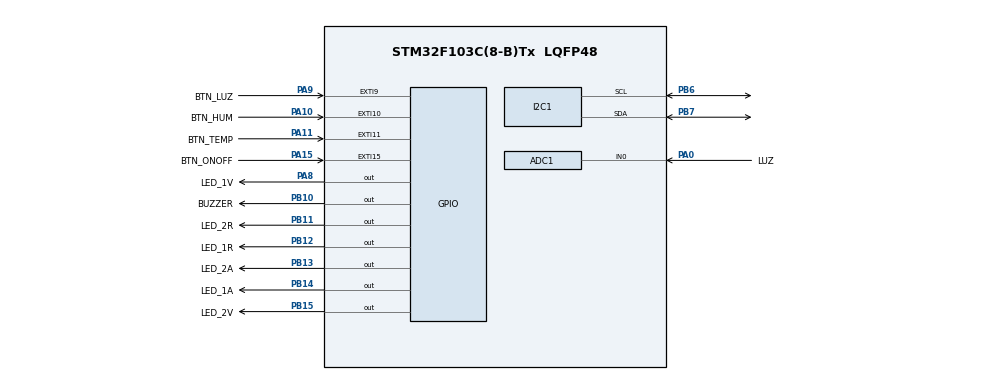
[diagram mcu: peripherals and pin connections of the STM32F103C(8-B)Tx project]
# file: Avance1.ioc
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ADC1.Channel-0\#ChannelRegularConversion=ADC_CHANNEL_0
ADC1.ContinuousConvMode=ENABLE
ADC1.NbrOfConversionFlag=1
ADC1.Rank-0\#ChannelRegularConversion=1
ADC1.SamplingTime-0\#ChannelRegularConversion=ADC_SAMPLETIME_1CYCLE_5
ADC1.master=1
Mcu.Family=STM32F1
Mcu.Name=STM32F103C(8-B)Tx
Mcu.Package=LQFP48
NVIC.ADC1_2_IRQn=true\:0\:0\:false\:false\:true\:true\:true\:true
NVIC.EXTI15_10_IRQn=true\:0\:0\:false\:false\:true\:true\:true\:true
NVIC.EXTI9_5_IRQn=true\:0\:0\:false\:false\:true\:true\:true\:true
NVIC.I2C1_ER_IRQn=true\:0\:0\:false\:false\:true\:true\:true\:true
NVIC.I2C1_EV_IRQn=true\:0\:0\:false\:false\:true\:true\:true\:true
NVIC.PriorityGroup=NVIC_PRIORITYGROUP_4
PA0-WKUP.GPIO_Label=LUZ
PA0-WKUP.Signal=ADCx_IN0
PA10.GPIO_Label=BTN_HUM
PA10.GPIO_PuPd=GPIO_PULLDOWN
PA10.Signal=GPXTI10
PA11.GPIO_Label=BTN_TEMP
PA11.GPIO_PuPd=GPIO_PULLDOWN
PA11.Signal=GPXTI11
PA13.Mode=Serial_Wire
PA13.Signal=SYS_JTMS-SWDIO
PA14.Mode=Serial_Wire
PA14.Signal=SYS_JTCK-SWCLK
PA15.GPIO_Label=BTN_ONOFF
PA15.GPIO_PuPd=GPIO_PULLDOWN
PA15.Signal=GPXTI15
PA8.GPIO_Label=LED_1V
PA8.Signal=GPIO_Output
PA9.GPIO_Label=BTN_LUZ
PA9.GPIO_PuPd=GPIO_PULLDOWN
PA9.Signal=GPXTI9
PB10.GPIO_Label=BUZZER
PB10.Signal=GPIO_Output
PB11.GPIO_Label=LED_2R
PB11.Signal=GPIO_Output
PB12.GPIO_Label=LED_1R
PB12.Signal=GPIO_Output
PB13.GPIO_Label=LED_2A
PB13.Signal=GPIO_Output
PB14.GPIO_Label=LED_1A
PB14.Signal=GPIO_Output
PB15.GPIO_Label=LED_2V
PB15.Signal=GPIO_Output
PB6.Mode=I2C
PB6.Signal=I2C1_SCL
PB7.Mode=I2C
PB7.Signal=I2C1_SDA
PC14-OSC32_IN.Mode=LSE-External-Oscillator
PC14-OSC32_IN.Signal=RCC_OSC32_IN
PC15-OSC32_OUT.Mode=LSE-External-Oscillator
PC15-OSC32_OUT.Signal=RCC_OSC32_OUT
PD0-OSC_IN.Mode=HSE-External-Oscillator
PD0-OSC_IN.Signal=RCC_OSC_IN
PD1-OSC_OUT.Mode=HSE-External-Oscillator
PD1-OSC_OUT.Signal=RCC_OSC_OUT
ProjectManager.HeapSize=0x200
ProjectManager.StackSize=0x400
ProjectManager.TargetToolchain=STM32CubeIDE
RCC.APB1Freq_Value=8000000
RCC.APB2Freq_Value=8000000
SH.ADCx_IN0.0=ADC1_IN0,IN0
board=custom

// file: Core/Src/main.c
/* USER CODE BEGIN Header */
/**
  ******************************************************************************
  * @file           : main.c
  * @brief          : Main program body
  ******************************************************************************
  * @attention
  *
  * Copyright (c) 2023 STMicroelectronics.
  * All rights reserved.
  *
  * This software is licensed under terms that can be found in the LICENSE file
  * in the root directory of this software component.
  * If no LICENSE file comes with this software, it is provided AS-IS.
  *
  ******************************************************************************
  */
/* USER CODE END Header */
#include "main.h"

/* USER CODE BEGIN Includes */
#include "bmp280.h"

#define IDLE 0
#define MT 1 //Medir temperatura
#define MH 2 //Medir humedad
#define MP 3 //Medir presión
#define ML 4 //Medir luz

/* USER CODE END Includes */

ADC_HandleTypeDef hadc1;

I2C_HandleTypeDef hi2c1;

/* USER CODE BEGIN PV */
BMP280_HandleTypedef bmp280; //handler for sensor
int STATE = IDLE;
uint8_t previousState = 0;
float temperature = 0;
float humidity = 0;
float pressure = 0;
float light = 0;
/* USER CODE END PV */

void SystemClock_Config(void);
static void MX_GPIO_Init(void);
static void MX_ADC1_Init(void);
static void MX_I2C1_Init(void);

int main(void)
{

  /* MCU Configuration--------------------------------------------------------*/

  /* Reset of all peripherals, Initializes the Flash interface and the Systick. */
  HAL_Init();

  /* Configure the system clock */
  SystemClock_Config();

  /* Initialize all configured peripherals */
  MX_GPIO_Init();
  MX_ADC1_Init();
  MX_I2C1_Init();
  /* USER CODE BEGIN 2 */
  HAL_I2C_Init(&hi2c1);
  HAL_ADC_Start(&hadc1);

  bmp280_init_default_params(&bmp280.params);
  bmp280.addr = BMP280_I2C_ADDRESS_0;
  bmp280.i2c= &hi2c1;
  bmp280.id == BME280_CHIP_ID;
  if (bmp280_init(&bmp280, &bmp280.params)) {
  	bool bme280p = bmp280.id == BME280_CHIP_ID;
  }
  /* USER CODE END 2 */

  /* Infinite loop */
  while (1)
  {

    /* USER CODE BEGIN 3 */
	switch (STATE) {
		case IDLE: //No hace nada
			HAL_GPIO_WritePin(LED_1V_GPIO_Port, LED_1V_Pin, 0);
			HAL_GPIO_WritePin(LED_2V_GPIO_Port, LED_2V_Pin, 0);
			HAL_GPIO_WritePin(LED_1A_GPIO_Port, LED_1A_Pin, 0);
			HAL_GPIO_WritePin(LED_2A_GPIO_Port, LED_2A_Pin, 0);
			HAL_GPIO_WritePin(LED_1R_GPIO_Port, LED_1R_Pin, 0);
			HAL_GPIO_WritePin(LED_2R_GPIO_Port, LED_2R_Pin, 0);
			HAL_GPIO_WritePin(BUZZER_GPIO_Port, BUZZER_Pin, 0);

			break;

		case MT: //Va a medir temperatura.
			//Empezar nuestro código para el caso medir temp.
			//Pedir el valor al sensor

			bmp280_read_float(&bmp280,&temperature,&pressure,&humidity);

			if(temperature < 0){
				//no enciende ningún LED
			} else if (temperature > 0 && temperature <= 10){
				//enciendo el primer LED verde
				HAL_GPIO_WritePin(LED_1V_GPIO_Port, LED_1V_Pin, 1);
				HAL_GPIO_WritePin(LED_2V_GPIO_Port, LED_2V_Pin, 0);
				HAL_GPIO_WritePin(LED_1A_GPIO_Port, LED_1A_Pin, 0);
				HAL_GPIO_WritePin(LED_2A_GPIO_Port, LED_2A_Pin, 0);
				HAL_GPIO_WritePin(LED_1R_GPIO_Port, LED_1R_Pin, 0);
				HAL_GPIO_WritePin(LED_2R_GPIO_Port, LED_2R_Pin, 0);

				HAL_GPIO_WritePin(BUZZER_GPIO_Port, BUZZER_Pin, 0);

			} else if (temperature > 10 && temperature <=22){
				// enciendo 1V y 2V
				HAL_GPIO_WritePin(LED_1V_GPIO_Port, LED_1V_Pin, 1);
				HAL_GPIO_WritePin(LED_2V_GPIO_Port, LED_2V_Pin, 1);
				HAL_GPIO_WritePin(LED_1A_GPIO_Port, LED_1A_Pin, 0);
				HAL_GPIO_WritePin(LED_2A_GPIO_Port, LED_2A_Pin, 0);
				HAL_GPIO_WritePin(LED_1R_GPIO_Port, LED_1R_Pin, 0);
				HAL_GPIO_WritePin(LED_2R_GPIO_Port, LED_2R_Pin, 0);

				HAL_GPIO_WritePin(BUZZER_GPIO_Port, BUZZER_Pin, 0);

			} else if (temperature > 22 && temperature <=25){
				// enciendo 1v, 2V y 1A
				HAL_GPIO_WritePin(LED_1V_GPIO_Port, LED_1V_Pin, 1);
				HAL_GPIO_WritePin(LED_2V_GPIO_Port, LED_2V_Pin, 1);
				HAL_GPIO_WritePin(LED_1A_GPIO_Port, LED_1A_Pin, 1);
				HAL_GPIO_WritePin(LED_2A_GPIO_Port, LED_2A_Pin, 0);
				HAL_GPIO_WritePin(LED_1R_GPIO_Port, LED_1R_Pin, 0);
				HAL_GPIO_WritePin(LED_2R_GPIO_Port, LED_2R_Pin, 0);

				HAL_GPIO_WritePin(BUZZER_GPIO_Port, BUZZER_Pin, 0);

			} else if (temperature > 25 && temperature <=27){
				// 1V 2V 1A 2A
				HAL_GPIO_WritePin(LED_1V_GPIO_Port, LED_1V_Pin, 1);
				HAL_GPIO_WritePin(LED_2V_GPIO_Port, LED_2V_Pin, 1);
				HAL_GPIO_WritePin(LED_1A_GPIO_Port, LED_1A_Pin, 1);
				HAL_GPIO_WritePin(LED_2A_GPIO_Port, LED_2A_Pin, 1);
				HAL_GPIO_WritePin(LED_1R_GPIO_Port, LED_1R_Pin, 0);
				HAL_GPIO_WritePin(LED_2R_GPIO_Port, LED_2R_Pin, 0);

				HAL_GPIO_WritePin(BUZZER_GPIO_Port, BUZZER_Pin, 0);

			} else if (temperature > 27 && temperature <=29){
				HAL_GPIO_WritePin(LED_1V_GPIO_Port, LED_1V_Pin, 1);
				HAL_GPIO_WritePin(LED_2V_GPIO_Port, LED_2V_Pin, 1);
				HAL_GPIO_WritePin(LED_1A_GPIO_Port, LED_1A_Pin, 1);
				HAL_GPIO_WritePin(LED_2A_GPIO_Port, LED_2A_Pin, 1);
				HAL_GPIO_WritePin(LED_1R_GPIO_Port, LED_1R_Pin, 1);
				HAL_GPIO_WritePin(LED_2R_GPIO_Port, LED_2R_Pin, 0);

				HAL_GPIO_WritePin(BUZZER_GPIO_Port, BUZZER_Pin, 1);

				// 1V 2V 1A 2A 1R
			} else if (temperature > 30){
				// 1V 2V 1A 2A 1R 2R
				HAL_GPIO_WritePin(LED_1V_GPIO_Port, LED_1V_Pin, 1);
				HAL_GPIO_WritePin(LED_2V_GPIO_Port, LED_2V_Pin, 1);
				HAL_GPIO_WritePin(LED_1A_GPIO_Port, LED_1A_Pin, 1);
				HAL_GPIO_WritePin(LED_2A_GPIO_Port, LED_2A_Pin, 1);
				HAL_GPIO_WritePin(LED_1R_GPIO_Port, LED_1R_Pin, 1);
				HAL_GPIO_WritePin(LED_2R_GPIO_Port, LED_2R_Pin, 1);

				HAL_GPIO_WritePin(BUZZER_GPIO_Port, BUZZER_Pin, 1);

			} else {
				//NO PRENDER NINGUNO
			}

			break;

		case MH: //Va a medir humedad.

			bmp280_read_float(&bmp280,&temperature,&pressure,&humidity);

			if(humidity < 0){
							//no enciende ningún LED
						} else if (humidity > 0 && humidity <= 20){
							//enciendo el primer LED verde
							HAL_GPIO_WritePin(LED_1V_GPIO_Port, LED_1V_Pin, 1);
							HAL_GPIO_WritePin(LED_2V_GPIO_Port, LED_2V_Pin, 0);
							HAL_GPIO_WritePin(LED_1A_GPIO_Port, LED_1A_Pin, 0);
							HAL_GPIO_WritePin(LED_2A_GPIO_Port, LED_2A_Pin, 0);
							HAL_GPIO_WritePin(LED_1R_GPIO_Port, LED_1R_Pin, 0);
							HAL_GPIO_WritePin(LED_2R_GPIO_Port, LED_2R_Pin, 0);

							HAL_GPIO_WritePin(BUZZER_GPIO_Port, BUZZER_Pin, 0);

						} else if (humidity > 20 && humidity <=40){
							// enciendo 1V y 2V
							HAL_GPIO_WritePin(LED_1V_GPIO_Port, LED_1V_Pin, 1);
							HAL_GPIO_WritePin(LED_2V_GPIO_Port, LED_2V_Pin, 1);
							HAL_GPIO_WritePin(LED_1A_GPIO_Port, LED_1A_Pin, 0);
							HAL_GPIO_WritePin(LED_2A_GPIO_Port, LED_2A_Pin, 0);
							HAL_GPIO_WritePin(LED_1R_GPIO_Port, LED_1R_Pin, 0);
							HAL_GPIO_WritePin(LED_2R_GPIO_Port, LED_2R_Pin, 0);

							HAL_GPIO_WritePin(BUZZER_GPIO_Port, BUZZER_Pin, 0);

						} else if (humidity > 40 && humidity <=60){
							// enciendo 1v, 2V y 1A
							HAL_GPIO_WritePin(LED_1V_GPIO_Port, LED_1V_Pin, 1);
							HAL_GPIO_WritePin(LED_2V_GPIO_Port, LED_2V_Pin, 1);
							HAL_GPIO_WritePin(LED_1A_GPIO_Port, LED_1A_Pin, 1);
							HAL_GPIO_WritePin(LED_2A_GPIO_Port, LED_2A_Pin, 0);
							HAL_GPIO_WritePin(LED_1R_GPIO_Port, LED_1R_Pin, 0);
							HAL_GPIO_WritePin(LED_2R_GPIO_Port, LED_2R_Pin, 0);

							HAL_GPIO_WritePin(BUZZER_GPIO_Port, BUZZER_Pin, 0);

						} else if (humidity > 60 && humidity <=80){
							// 1V 2V 1A 2A
							HAL_GPIO_WritePin(LED_1V_GPIO_Port, LED_1V_Pin, 1);
							HAL_GPIO_WritePin(LED_2V_GPIO_Port, LED_2V_Pin, 1);
							HAL_GPIO_WritePin(LED_1A_GPIO_Port, LED_1A_Pin, 1);
							HAL_GPIO_WritePin(LED_2A_GPIO_Port, LED_2A_Pin, 1);
							HAL_GPIO_WritePin(LED_1R_GPIO_Port, LED_1R_Pin, 0);
							HAL_GPIO_WritePin(LED_2R_GPIO_Port, LED_2R_Pin, 0);

							HAL_GPIO_WritePin(BUZZER_GPIO_Port, BUZZER_Pin, 0);

						} else if (humidity > 80 && humidity <100){
							HAL_GPIO_WritePin(LED_1V_GPIO_Port, LED_1V_Pin, 1);
							HAL_GPIO_WritePin(LED_2V_GPIO_Port, LED_2V_Pin, 1);
							HAL_GPIO_WritePin(LED_1A_GPIO_Port, LED_1A_Pin, 1);
							HAL_GPIO_WritePin(LED_2A_GPIO_Port, LED_2A_Pin, 1);
							HAL_GPIO_WritePin(LED_1R_GPIO_Port, LED_1R_Pin, 1);
							HAL_GPIO_WritePin(LED_2R_GPIO_Port, LED_2R_Pin, 0);

							HAL_GPIO_WritePin(BUZZER_GPIO_Port, BUZZER_Pin, 1);
							// 1V 2V 1A 2A 1R
						} else if (humidity > 100){
							// 1V 2V 1A 2A 1R 2R
							HAL_GPIO_WritePin(LED_1V_GPIO_Port, LED_1V_Pin, 1);
							HAL_GPIO_WritePin(LED_2V_GPIO_Port, LED_2V_Pin, 1);
							HAL_GPIO_WritePin(LED_1A_GPIO_Port, LED_1A_Pin, 1);
							HAL_GPIO_WritePin(LED_2A_GPIO_Port, LED_2A_Pin, 1);
							HAL_GPIO_WritePin(LED_1R_GPIO_Port, LED_1R_Pin, 1);
							HAL_GPIO_WritePin(LED_2R_GPIO_Port, LED_2R_Pin, 1);
							HAL_GPIO_WritePin(BUZZER_GPIO_Port, BUZZER_Pin, 1);

						} else {
							//NO PRENDER NINGUNO
						}
					break;

		case MP: //Va a medir presión.

			bmp280_read_float(&bmp280,&temperature,&pressure,&humidity);

			if(pressure < 300){
										//no enciende ningún LED
									} else if (pressure >= 300 && pressure <= 500){
										//enciendo el primer LED verde
										HAL_GPIO_WritePin(LED_1V_GPIO_Port, LED_1V_Pin, 1);
										HAL_GPIO_WritePin(LED_2V_GPIO_Port, LED_2V_Pin, 0);
										HAL_GPIO_WritePin(LED_1A_GPIO_Port, LED_1A_Pin, 0);
										HAL_GPIO_WritePin(LED_2A_GPIO_Port, LED_2A_Pin, 0);
										HAL_GPIO_WritePin(LED_1R_GPIO_Port, LED_1R_Pin, 0);
										HAL_GPIO_WritePin(LED_2R_GPIO_Port, LED_2R_Pin, 0);

										HAL_GPIO_WritePin(BUZZER_GPIO_Port, BUZZER_Pin, 0);

									} else if (pressure > 500 && pressure <=700){
										// enciendo 1V y 2V
										HAL_GPIO_WritePin(LED_1V_GPIO_Port, LED_1V_Pin, 1);
										HAL_GPIO_WritePin(LED_2V_GPIO_Port, LED_2V_Pin, 1);
										HAL_GPIO_WritePin(LED_1A_GPIO_Port, LED_1A_Pin, 0);
										HAL_GPIO_WritePin(LED_2A_GPIO_Port, LED_2A_Pin, 0);
										HAL_GPIO_WritePin(LED_1R_GPIO_Port, LED_1R_Pin, 0);
										HAL_GPIO_WritePin(LED_2R_GPIO_Port, LED_2R_Pin, 0);

										HAL_GPIO_WritePin(BUZZER_GPIO_Port, BUZZER_Pin, 0);

									} else if (pressure > 700 && pressure <=900){
										// enciendo 1v, 2V y 1A
										HAL_GPIO_WritePin(LED_1V_GPIO_Port, LED_1V_Pin, 1);
										HAL_GPIO_WritePin(LED_2V_GPIO_Port, LED_2V_Pin, 1);
										HAL_GPIO_WritePin(LED_1A_GPIO_Port, LED_1A_Pin, 1);
										HAL_GPIO_WritePin(LED_2A_GPIO_Port, LED_2A_Pin, 0);
										HAL_GPIO_WritePin(LED_1R_GPIO_Port, LED_1R_Pin, 0);
										HAL_GPIO_WritePin(LED_2R_GPIO_Port, LED_2R_Pin, 0);

										HAL_GPIO_WritePin(BUZZER_GPIO_Port, BUZZER_Pin, 0);

									} else if (pressure > 900 && pressure <=1000){
										// 1V 2V 1A 2A
										HAL_GPIO_WritePin(LED_1V_GPIO_Port, LED_1V_Pin, 1);
										HAL_GPIO_WritePin(LED_2V_GPIO_Port, LED_2V_Pin, 1);
										HAL_GPIO_WritePin(LED_1A_GPIO_Port, LED_1A_Pin, 1);
										HAL_GPIO_WritePin(LED_2A_GPIO_Port, LED_2A_Pin, 1);
										HAL_GPIO_WritePin(LED_1R_GPIO_Port, LED_1R_Pin, 0);
										HAL_GPIO_WritePin(LED_2R_GPIO_Port, LED_2R_Pin, 0);

										HAL_GPIO_WritePin(BUZZER_GPIO_Port, BUZZER_Pin, 0);

									} else if (pressure > 1000 && pressure <=1100){
										HAL_GPIO_WritePin(LED_1V_GPIO_Port, LED_1V_Pin, 1);
										HAL_GPIO_WritePin(LED_2V_GPIO_Port, LED_2V_Pin, 1);
										HAL_GPIO_WritePin(LED_1A_GPIO_Port, LED_1A_Pin, 1);
										HAL_GPIO_WritePin(LED_2A_GPIO_Port, LED_2A_Pin, 1);
										HAL_GPIO_WritePin(LED_1R_GPIO_Port, LED_1R_Pin, 1);
										HAL_GPIO_WritePin(LED_2R_GPIO_Port, LED_2R_Pin, 0);

										HAL_GPIO_WritePin(BUZZER_GPIO_Port, BUZZER_Pin, 1);

										// 1V 2V 1A 2A 1R
									} else if (pressure > 1100){
										// 1V 2V 1A 2A 1R 2R
										HAL_GPIO_WritePin(LED_1V_GPIO_Port, LED_1V_Pin, 1);
										HAL_GPIO_WritePin(LED_2V_GPIO_Port, LED_2V_Pin, 1);
										HAL_GPIO_WritePin(LED_1A_GPIO_Port, LED_1A_Pin, 1);
										HAL_GPIO_WritePin(LED_2A_GPIO_Port, LED_2A_Pin, 1);
										HAL_GPIO_WritePin(LED_1R_GPIO_Port, LED_1R_Pin, 1);
										HAL_GPIO_WritePin(LED_2R_GPIO_Port, LED_2R_Pin, 1);

										HAL_GPIO_WritePin(BUZZER_GPIO_Port, BUZZER_Pin, 1);
									}

					break;

		case ML: //Va a medir luz.
			HAL_ADC_PollForConversion(&hadc1, 100);
			light = HAL_ADC_GetValue(&hadc1);

			if(light < 200){
							//no enciende ningún LED
				HAL_GPIO_WritePin(LED_1V_GPIO_Port, LED_1V_Pin, 0);
				HAL_GPIO_WritePin(LED_2V_GPIO_Port, LED_2V_Pin, 0);
				HAL_GPIO_WritePin(LED_1A_GPIO_Port, LED_1A_Pin, 0);
				HAL_GPIO_WritePin(LED_2A_GPIO_Port, LED_2A_Pin, 0);
				HAL_GPIO_WritePin(LED_1R_GPIO_Port, LED_1R_Pin, 0);
				HAL_GPIO_WritePin(LED_2R_GPIO_Port, LED_2R_Pin, 0);
				HAL_GPIO_WritePin(BUZZER_GPIO_Port, BUZZER_Pin, 1);
			} else if (light > 200 && light <= 500){
							//enciendo el primer LED verde
							HAL_GPIO_WritePin(LED_1V_GPIO_Port, LED_1V_Pin, 1);
							HAL_GPIO_WritePin(LED_2V_GPIO_Port, LED_2V_Pin, 0);
							HAL_GPIO_WritePin(LED_1A_GPIO_Port, LED_1A_Pin, 0);
							HAL_GPIO_WritePin(LED_2A_GPIO_Port, LED_2A_Pin, 0);
							HAL_GPIO_WritePin(LED_1R_GPIO_Port, LED_1R_Pin, 0);
							HAL_GPIO_WritePin(LED_2R_GPIO_Port, LED_2R_Pin, 0);
							HAL_GPIO_WritePin(BUZZER_GPIO_Port, BUZZER_Pin, 0);

						} else if (light > 500 && light <=1500){
							// enciendo 1V y 2V
							HAL_GPIO_WritePin(LED_1V_GPIO_Port, LED_1V_Pin, 1);
							HAL_GPIO_WritePin(LED_2V_GPIO_Port, LED_2V_Pin, 1);
							HAL_GPIO_WritePin(LED_1A_GPIO_Port, LED_1A_Pin, 0);
							HAL_GPIO_WritePin(LED_2A_GPIO_Port, LED_2A_Pin, 0);
							HAL_GPIO_WritePin(LED_1R_GPIO_Port, LED_1R_Pin, 0);
							HAL_GPIO_WritePin(LED_2R_GPIO_Port, LED_2R_Pin, 0);

							HAL_GPIO_WritePin(BUZZER_GPIO_Port, BUZZER_Pin, 0);

						} else if (light > 1500 && light <=2500){
							// enciendo 1v, 2V y 1A
							HAL_GPIO_WritePin(LED_1V_GPIO_Port, LED_1V_Pin, 1);
							HAL_GPIO_WritePin(LED_2V_GPIO_Port, LED_2V_Pin, 1);
							HAL_GPIO_WritePin(LED_1A_GPIO_Port, LED_1A_Pin, 1);
							HAL_GPIO_WritePin(LED_2A_GPIO_Port, LED_2A_Pin, 0);
							HAL_GPIO_WritePin(LED_1R_GPIO_Port, LED_1R_Pin, 0);
							HAL_GPIO_WritePin(LED_2R_GPIO_Port, LED_2R_Pin, 0);

							HAL_GPIO_WritePin(BUZZER_GPIO_Port, BUZZER_Pin, 0);

						} else if (light > 2500 && light <=3000){
							// 1V 2V 1A 2A
							HAL_GPIO_WritePin(LED_1V_GPIO_Port, LED_1V_Pin, 1);
							HAL_GPIO_WritePin(LED_2V_GPIO_Port, LED_2V_Pin, 1);
							HAL_GPIO_WritePin(LED_1A_GPIO_Port, LED_1A_Pin, 1);
							HAL_GPIO_WritePin(LED_2A_GPIO_Port, LED_2A_Pin, 1);
							HAL_GPIO_WritePin(LED_1R_GPIO_Port, LED_1R_Pin, 0);
							HAL_GPIO_WritePin(LED_2R_GPIO_Port, LED_2R_Pin, 0);

							HAL_GPIO_WritePin(BUZZER_GPIO_Port, BUZZER_Pin, 0);

						} else if (light > 3000 && light <=3500){
							HAL_GPIO_WritePin(LED_1V_GPIO_Port, LED_1V_Pin, 1);
							HAL_GPIO_WritePin(LED_2V_GPIO_Port, LED_2V_Pin, 1);
							HAL_GPIO_WritePin(LED_1A_GPIO_Port, LED_1A_Pin, 1);
							HAL_GPIO_WritePin(LED_2A_GPIO_Port, LED_2A_Pin, 1);
							HAL_GPIO_WritePin(LED_1R_GPIO_Port, LED_1R_Pin, 1);
							HAL_GPIO_WritePin(LED_2R_GPIO_Port, LED_2R_Pin, 0);

							HAL_GPIO_WritePin(BUZZER_GPIO_Port, BUZZER_Pin, 1);

							// 1V 2V 1A 2A 1R
						} else if (light > 3500){
							// 1V 2V 1A 2A 1R 2R
							HAL_GPIO_WritePin(LED_1V_GPIO_Port, LED_1V_Pin, 1);
							HAL_GPIO_WritePin(LED_2V_GPIO_Port, LED_2V_Pin, 1);
							HAL_GPIO_WritePin(LED_1A_GPIO_Port, LED_1A_Pin, 1);
							HAL_GPIO_WritePin(LED_2A_GPIO_Port, LED_2A_Pin, 1);
							HAL_GPIO_WritePin(LED_1R_GPIO_Port, LED_1R_Pin, 1);
							HAL_GPIO_WritePin(LED_2R_GPIO_Port, LED_2R_Pin, 1);

							HAL_GPIO_WritePin(BUZZER_GPIO_Port, BUZZER_Pin, 1);

						} else {
							//NO PRENDER NINGUNO
						}
					break;
		default:

			break;
	}

  }
  /* USER CODE END 3 */
}

void SystemClock_Config(void)
{
  RCC_OscInitTypeDef RCC_OscInitStruct = {0};
  RCC_ClkInitTypeDef RCC_ClkInitStruct = {0};
  RCC_PeriphCLKInitTypeDef PeriphClkInit = {0};

  /** Initializes the RCC Oscillators according to the specified parameters
  * in the RCC_OscInitTypeDef structure.
  */
  RCC_OscInitStruct.OscillatorType = RCC_OSCILLATORTYPE_HSI;
  RCC_OscInitStruct.HSIState = RCC_HSI_ON;
  RCC_OscInitStruct.HSICalibrationValue = RCC_HSICALIBRATION_DEFAULT;
  RCC_OscInitStruct.PLL.PLLState = RCC_PLL_NONE;
  if (HAL_RCC_OscConfig(&RCC_OscInitStruct) != HAL_OK)
  {
    Error_Handler();
  }

  /** Initializes the CPU, AHB and APB buses clocks
  */
  RCC_ClkInitStruct.ClockType = RCC_CLOCKTYPE_HCLK|RCC_CLOCKTYPE_SYSCLK
                              |RCC_CLOCKTYPE_PCLK1|RCC_CLOCKTYPE_PCLK2;
  RCC_ClkInitStruct.SYSCLKSource = RCC_SYSCLKSOURCE_HSI;
  RCC_ClkInitStruct.AHBCLKDivider = RCC_SYSCLK_DIV1;
  RCC_ClkInitStruct.APB1CLKDivider = RCC_HCLK_DIV1;
  RCC_ClkInitStruct.APB2CLKDivider = RCC_HCLK_DIV1;

  if (HAL_RCC_ClockConfig(&RCC_ClkInitStruct, FLASH_LATENCY_0) != HAL_OK)
  {
    Error_Handler();
  }
  PeriphClkInit.PeriphClockSelection = RCC_PERIPHCLK_ADC;
  PeriphClkInit.AdcClockSelection = RCC_ADCPCLK2_DIV2;
  if (HAL_RCCEx_PeriphCLKConfig(&PeriphClkInit) != HAL_OK)
  {
    Error_Handler();
  }
}

static void MX_ADC1_Init(void)
{

  ADC_ChannelConfTypeDef sConfig = {0};

  /** Common config
  */
  hadc1.Instance = ADC1;
  hadc1.Init.ScanConvMode = ADC_SCAN_DISABLE;
  hadc1.Init.ContinuousConvMode = ENABLE;
  hadc1.Init.DiscontinuousConvMode = DISABLE;
  hadc1.Init.ExternalTrigConv = ADC_SOFTWARE_START;
  hadc1.Init.DataAlign = ADC_DATAALIGN_RIGHT;
  hadc1.Init.NbrOfConversion = 1;
  if (HAL_ADC_Init(&hadc1) != HAL_OK)
  {
    Error_Handler();
  }

  /** Configure Regular Channel
  */
  sConfig.Channel = ADC_CHANNEL_0;
  sConfig.Rank = ADC_REGULAR_RANK_1;
  sConfig.SamplingTime = ADC_SAMPLETIME_1CYCLE_5;
  if (HAL_ADC_ConfigChannel(&hadc1, &sConfig) != HAL_OK)
  {
    Error_Handler();
  }

}

static void MX_I2C1_Init(void)
{

  hi2c1.Instance = I2C1;
  hi2c1.Init.ClockSpeed = 100000;
  hi2c1.Init.DutyCycle = I2C_DUTYCYCLE_2;
  hi2c1.Init.OwnAddress1 = 0;
  hi2c1.Init.AddressingMode = I2C_ADDRESSINGMODE_7BIT;
  hi2c1.Init.DualAddressMode = I2C_DUALADDRESS_DISABLE;
  hi2c1.Init.OwnAddress2 = 0;
  hi2c1.Init.GeneralCallMode = I2C_GENERALCALL_DISABLE;
  hi2c1.Init.NoStretchMode = I2C_NOSTRETCH_DISABLE;
  if (HAL_I2C_Init(&hi2c1) != HAL_OK)
  {
    Error_Handler();
  }

}

static void MX_GPIO_Init(void)
{
  GPIO_InitTypeDef GPIO_InitStruct = {0};

  /* GPIO Ports Clock Enable */
  __HAL_RCC_GPIOC_CLK_ENABLE();
  __HAL_RCC_GPIOD_CLK_ENABLE();
  __HAL_RCC_GPIOA_CLK_ENABLE();
  __HAL_RCC_GPIOB_CLK_ENABLE();

  /*Configure GPIO pin Output Level */
  HAL_GPIO_WritePin(GPIOB, BUZZER_Pin|LED_2R_Pin|LED_1R_Pin|LED_2A_Pin
                          |LED_1A_Pin|LED_2V_Pin, GPIO_PIN_RESET);

  /*Configure GPIO pin Output Level */
  HAL_GPIO_WritePin(LED_1V_GPIO_Port, LED_1V_Pin, GPIO_PIN_RESET);

  /*Configure GPIO pins : BUZZER_Pin LED_2R_Pin LED_1R_Pin LED_2A_Pin
                           LED_1A_Pin LED_2V_Pin */
  GPIO_InitStruct.Pin = BUZZER_Pin|LED_2R_Pin|LED_1R_Pin|LED_2A_Pin
                          |LED_1A_Pin|LED_2V_Pin;
  GPIO_InitStruct.Mode = GPIO_MODE_OUTPUT_PP;
  GPIO_InitStruct.Pull = GPIO_NOPULL;
  GPIO_InitStruct.Speed = GPIO_SPEED_FREQ_LOW;
  HAL_GPIO_Init(GPIOB, &GPIO_InitStruct);

  /*Configure GPIO pin : LED_1V_Pin */
  GPIO_InitStruct.Pin = LED_1V_Pin;
  GPIO_InitStruct.Mode = GPIO_MODE_OUTPUT_PP;
  GPIO_InitStruct.Pull = GPIO_NOPULL;
  GPIO_InitStruct.Speed = GPIO_SPEED_FREQ_LOW;
  HAL_GPIO_Init(LED_1V_GPIO_Port, &GPIO_InitStruct);

  /*Configure GPIO pins : BTN_LUZ_Pin BTN_HUM_Pin BTN_TEMP_Pin BTN_ONOFF_Pin */
  GPIO_InitStruct.Pin = BTN_LUZ_Pin|BTN_HUM_Pin|BTN_TEMP_Pin|BTN_ONOFF_Pin;
  GPIO_InitStruct.Mode = GPIO_MODE_IT_RISING;
  GPIO_InitStruct.Pull = GPIO_PULLDOWN;
  HAL_GPIO_Init(GPIOA, &GPIO_InitStruct);

  /* EXTI interrupt init*/
  HAL_NVIC_SetPriority(EXTI9_5_IRQn, 0, 0);
  HAL_NVIC_EnableIRQ(EXTI9_5_IRQn);

  HAL_NVIC_SetPriority(EXTI15_10_IRQn, 0, 0);
  HAL_NVIC_EnableIRQ(EXTI15_10_IRQn);

}

/* USER CODE BEGIN 4 */

void HAL_GPIO_EXTI_Callback(uint16_t GPIO_Pin){
	 if (GPIO_Pin == BTN_TEMP_Pin) {
	        previousState = STATE;
	        STATE = MT;
	    } else if (GPIO_Pin == BTN_HUM_Pin) {
	        previousState = STATE;
	        STATE = MH;
	    } else if (GPIO_Pin == BTN_LUZ_Pin) {
	        previousState = STATE;
	        STATE = ML;
	    } else if (GPIO_Pin == BTN_ONOFF_Pin) {
	        if (STATE == IDLE) {
	            // Regresar al estado anterior si se presiona BTN_ONOFF y STATE es IDLE
	            STATE = previousState;
	        } else {
	            previousState = STATE;
	            STATE = IDLE;
	        }
	    }
}
/* USER CODE END 4 */

void Error_Handler(void)
{
  __disable_irq();
  while (1)
  {
  }
}
